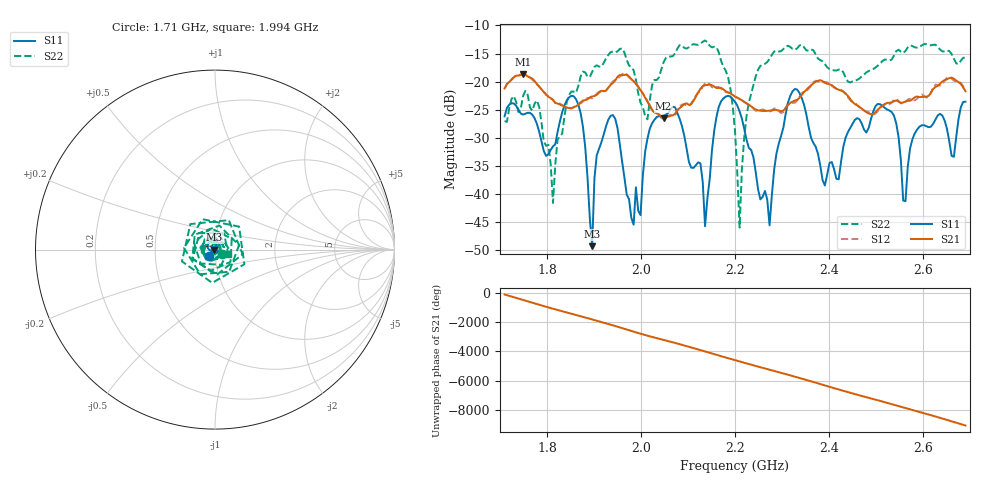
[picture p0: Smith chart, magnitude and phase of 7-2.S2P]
!Agilent Technologies,E5061B,MY49305579,A.02.22
!Date: Thu Aug 24 16:25:00 2017
!Data & Calibration Information:
!Freq	S11:SOLT2(ON)	S21:SOLT2(ON)	S12:SOLT2(ON)	S22:SOLT2(ON)
# Hz S dB R 50
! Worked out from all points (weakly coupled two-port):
!   201 points, 1.71 GHz to 2.69 GHz, reference 50 ohm
!   highest |S21| = -18.66 dB at 1.749 GHz (marker M1); lowest = -26.5 dB at 2.048 GHz (marker M2)
!   lowest |S11| = -49.3 dB at 1.896 GHz (marker M3), VSWR 1.01, Z = 49.7 + j0.0425 ohm
!   |S11| at or under -10 dB: start of sweep to end of sweep
!   |S22| runs from -46.0 to -12.7 dB; largest |S21 - S12| = 0.0061
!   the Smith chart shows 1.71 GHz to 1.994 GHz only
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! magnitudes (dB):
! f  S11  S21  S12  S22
! 1.71 GHz  -26.2  -21.2  -21.2  -27.0
! 1.749 GHz  -25.9  -18.7  -18.8  -22.6
! 1.813 GHz  -31.5  -23.3  -23.2  -41.6
! 1.877 GHz  -28.0  -23.4  -23.6  -18.2
! 1.896 GHz  -49.3  -22.6  -22.9  -18.3
! 1.906 GHz  -33.1  -22.3  -22.1  -17.1
! 1.931 GHz  -26.8  -21.1  -21.1  -15.2
! 1.984 GHz  -45.4  -19.9  -19.9  -18.0
! 2.038 GHz  -26.1  -25.8  -25.9  -19.2
! 2.048 GHz  -26.1  -26.5  -26.6  -16.6
! 2.136 GHz  -45.7  -20.6  -20.3  -12.7
! 2.166 GHz  -24.4  -21.1  -20.9  -14.8
! 2.2 GHz  -23.6  -22.6  -22.7  -28.7
! 2.21 GHz  -25.3  -23.1  -23.0  -46.0
! 2.229 GHz  -31.8  -24.1  -24.1  -23.7
! 2.273 GHz  -45.6  -25.1  -25.3  -15.9
! 2.322 GHz  -21.7  -23.5  -23.8  -14.2
! 2.367 GHz  -30.9  -20.3  -20.1  -14.4
! 2.528 GHz  -25.1  -23.7  -24.1  -16.2
! 2.563 GHz  -41.3  -23.5  -23.6  -14.5
! 2.582 GHz  -29.2  -22.8  -23.3  -13.9
! 2.69 GHz  -23.6  -21.7  -21.7  -15.7
